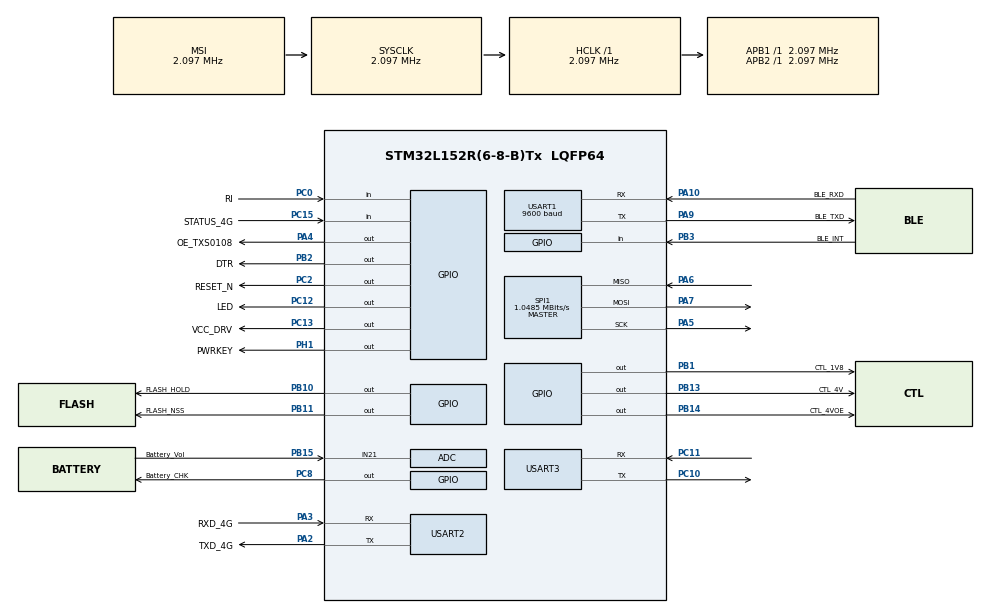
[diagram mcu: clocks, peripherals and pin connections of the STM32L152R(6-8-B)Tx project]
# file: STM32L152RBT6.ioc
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ADC.Channel-1\#ChannelRegularConversion=ADC_CHANNEL_21
ADC.NbrOfConversionFlag=1
ADC.Rank-1\#ChannelRegularConversion=1
ADC.SamplingTime-1\#ChannelRegularConversion=ADC_SAMPLETIME_4CYCLES
Mcu.Family=STM32L1
Mcu.Name=STM32L152R(6-8-B)Tx
Mcu.Package=LQFP64
NVIC.ADC1_IRQn=true\:0\:0\:false\:false\:true\:true\:true\:true
NVIC.PriorityGroup=NVIC_PRIORITYGROUP_4
NVIC.SPI1_IRQn=true\:0\:0\:false\:false\:true\:true\:true\:true
NVIC.USART1_IRQn=true\:0\:0\:false\:false\:true\:true\:true\:true
NVIC.USART2_IRQn=true\:0\:0\:false\:false\:true\:true\:true\:true
NVIC.USART3_IRQn=true\:0\:0\:false\:false\:true\:true\:true\:true
PA10.GPIO_Label=BLE_RXD
PA10.Mode=Asynchronous
PA10.Signal=USART1_RX
PA13.Mode=Serial_Wire
PA13.Signal=SYS_JTMS-SWDIO
PA14.Mode=Serial_Wire
PA14.Signal=SYS_JTCK-SWCLK
PA2.GPIO_Label=TXD_4G
PA2.Mode=Asynchronous
PA2.Signal=USART2_TX
PA3.GPIO_Label=RXD_4G
PA3.Mode=Asynchronous
PA3.Signal=USART2_RX
PA4.GPIO_Label=OE_TXS0108
PA4.Signal=GPIO_Output
PA5.Mode=Full_Duplex_Master
PA5.Signal=SPI1_SCK
PA6.Mode=Full_Duplex_Master
PA6.Signal=SPI1_MISO
PA7.Mode=Full_Duplex_Master
PA7.Signal=SPI1_MOSI
PA9.GPIO_Label=BLE_TXD
PA9.Mode=Asynchronous
PA9.Signal=USART1_TX
PB1.GPIO_Label=CTL_1V8
PB1.Signal=GPIO_Output
PB10.GPIO_Label=FLASH_HOLD
PB10.GPIO_PuPd=GPIO_PULLUP
PB10.PinState=GPIO_PIN_SET
PB10.Signal=GPIO_Output
PB11.GPIO_Label=FLASH_NSS
PB11.GPIO_PuPd=GPIO_PULLUP
PB11.PinState=GPIO_PIN_SET
PB11.Signal=GPIO_Output
PB13.GPIO_Label=CTL_4V
PB13.Signal=GPIO_Output
PB14.GPIO_Label=CTL_4VOE
PB14.Signal=GPIO_Output
PB15.GPIO_Label=Battery_Vol
PB15.Mode=IN21
PB15.Signal=ADC_IN21
PB2.GPIO_Label=DTR
PB2.GPIO_PuPd=GPIO_PULLDOWN
PB2.Signal=GPIO_Output
PB3.GPIO_Label=BLE_INT
PB3.GPIO_PuPd=GPIO_PULLUP
PB3.Signal=GPIO_Input
PC0.GPIO_Label=RI
PC0.GPIO_PuPd=GPIO_PULLUP
PC0.Signal=GPIO_Input
PC10.Mode=Asynchronous
PC10.Signal=USART3_TX
PC11.Mode=Asynchronous
PC11.Signal=USART3_RX
PC12.GPIO_Label=LED
PC12.Signal=GPIO_Output
PC13-WKUP2.GPIO_Label=VCC_DRV
PC13-WKUP2.Signal=GPIO_Output
PC15-OSC32_OUT.GPIO_Label=STATUS_4G
PC15-OSC32_OUT.GPIO_PuPd=GPIO_PULLUP
PC15-OSC32_OUT.Signal=GPIO_Input
PC2.GPIO_Label=RESET_N
PC2.Signal=GPIO_Output
PC8.GPIO_Label=Battery_CHK
PC8.Signal=GPIO_Output
PH1-OSC_OUT.GPIO_Label=PWRKEY
PH1-OSC_OUT.Signal=GPIO_Output
ProjectManager.HeapSize=0x200
ProjectManager.StackSize=0x400
ProjectManager.TargetToolchain=EWARM V8.32
RCC.AHBFreq_Value=2097000
RCC.APB1Freq_Value=2097000
RCC.APB2Freq_Value=2097000
RCC.HSE_VALUE=24000000
RCC.HSI_VALUE=16000000
RCC.LSE_VALUE=32768
RCC.MSI_VALUE=2097000
RCC.SYSCLKFreq_VALUE=2097000
RCC.VCOOutputFreq_Value=48000000
SPI1.CalculateBaudRate=1.0485 MBits/s
SPI1.Direction=SPI_DIRECTION_2LINES
SPI1.Mode=SPI_MODE_MASTER
SPI1.VirtualType=VM_MASTER
USART1.BaudRate=9600
USART1.VirtualMode=VM_ASYNC
USART2.VirtualMode=VM_ASYNC
USART3.VirtualMode=VM_ASYNC
board=custom

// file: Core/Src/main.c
/* USER CODE BEGIN Header */
/**
  ******************************************************************************
  * @file           : main.c
  * @brief          : Main program body
  ******************************************************************************
  * @attention
  *
  * Copyright (c) 2026 STMicroelectronics.
  * All rights reserved.
  *
  * This software is licensed under terms that can be found in the LICENSE file
  * in the root directory of this software component.
  * If no LICENSE file comes with this software, it is provided AS-IS.
  *
  ******************************************************************************
  */
/* USER CODE END Header */
#include "main.h"
#include "adc.h"
#include "spi.h"
#include "usart.h"
#include "gpio.h"

/* USER CODE BEGIN Includes */
#include <stdbool.h>
#include "L431_in.h"
#include "4g_echo.h"
#include "flash_io.h"
/* USER CODE END Includes */

/* USER CODE BEGIN PTD */
extern bool idle2_flag;

/* USER CODE END PTD */

/* USER CODE BEGIN PD */
static void led_init();
/* USER CODE END PD */

void SystemClock_Config(void);

int main(void)
{

  /* MCU Configuration--------------------------------------------------------*/

  /* Reset of all peripherals, Initializes the Flash interface and the Systick. */
  HAL_Init();

  /* Configure the system clock */
  SystemClock_Config();

  /* Initialize all configured peripherals */
  MX_GPIO_Init();
  MX_ADC_Init();
  MX_SPI1_Init();
  MX_USART1_UART_Init();
  MX_USART2_UART_Init();
  MX_USART3_UART_Init();
  /* USER CODE BEGIN 2 */
  led_init();

  Start_Init();
  sFLASH_Init();
  nvic2_init();
  mqtt_net_init(STATE_SEND_AT);
  //nvic3_init();

  HAL_GPIO_WritePin(GPIOC, GPIO_PIN_12, GPIO_PIN_SET);

  /* USER CODE END 2 */

  /* Infinite loop */
  while (1)
  {

        //turn_message_to3();
    if (!__HAL_UART_GET_IT_SOURCE(&huart2, UART_IT_RXNE)) {
        __HAL_UART_ENABLE_IT(&huart2, UART_IT_RXNE);
    }
    if (!__HAL_UART_GET_IT_SOURCE(&huart2, UART_IT_IDLE)) {
        __HAL_UART_ENABLE_IT(&huart2, UART_IT_IDLE);
    }
        mqtt_process_subscribe_msg();
        mqtt_ota_timeout_check();

        //process_data();

  }
}

void SystemClock_Config(void)
{
  RCC_OscInitTypeDef RCC_OscInitStruct = {0};
  RCC_ClkInitTypeDef RCC_ClkInitStruct = {0};

  /** Configure the main internal regulator output voltage
  */
  __HAL_PWR_VOLTAGESCALING_CONFIG(PWR_REGULATOR_VOLTAGE_SCALE1);

  /** Initializes the RCC Oscillators according to the specified parameters
  * in the RCC_OscInitTypeDef structure.
  */
  RCC_OscInitStruct.OscillatorType = RCC_OSCILLATORTYPE_HSI|RCC_OSCILLATORTYPE_MSI;
  RCC_OscInitStruct.HSIState = RCC_HSI_ON;
  RCC_OscInitStruct.HSICalibrationValue = RCC_HSICALIBRATION_DEFAULT;
  RCC_OscInitStruct.MSIState = RCC_MSI_ON;
  RCC_OscInitStruct.MSICalibrationValue = 0;
  RCC_OscInitStruct.MSIClockRange = RCC_MSIRANGE_5;
  RCC_OscInitStruct.PLL.PLLState = RCC_PLL_NONE;
  if (HAL_RCC_OscConfig(&RCC_OscInitStruct) != HAL_OK)
  {
    Error_Handler();
  }

  /** Initializes the CPU, AHB and APB buses clocks
  */
  RCC_ClkInitStruct.ClockType = RCC_CLOCKTYPE_HCLK|RCC_CLOCKTYPE_SYSCLK
                              |RCC_CLOCKTYPE_PCLK1|RCC_CLOCKTYPE_PCLK2;
  RCC_ClkInitStruct.SYSCLKSource = RCC_SYSCLKSOURCE_MSI;
  RCC_ClkInitStruct.AHBCLKDivider = RCC_SYSCLK_DIV1;
  RCC_ClkInitStruct.APB1CLKDivider = RCC_HCLK_DIV1;
  RCC_ClkInitStruct.APB2CLKDivider = RCC_HCLK_DIV1;

  if (HAL_RCC_ClockConfig(&RCC_ClkInitStruct, FLASH_LATENCY_0) != HAL_OK)
  {
    Error_Handler();
  }
}

/* USER CODE BEGIN 4 */
void led_init(){
    HAL_Delay(250);
    HAL_GPIO_WritePin(GPIOC, GPIO_PIN_12, GPIO_PIN_SET);
    HAL_Delay(250);
    HAL_GPIO_WritePin(GPIOC, GPIO_PIN_12, GPIO_PIN_RESET);
    HAL_Delay(250);
    HAL_GPIO_WritePin(GPIOC, GPIO_PIN_12, GPIO_PIN_SET);
    HAL_Delay(250);
    HAL_GPIO_WritePin(GPIOC, GPIO_PIN_12, GPIO_PIN_RESET);
    HAL_Delay(250);
    HAL_GPIO_WritePin(GPIOC, GPIO_PIN_12, GPIO_PIN_SET);
    HAL_Delay(250);
    HAL_GPIO_WritePin(GPIOC, GPIO_PIN_12, GPIO_PIN_RESET);
    HAL_Delay(250);
    HAL_GPIO_WritePin(GPIOC, GPIO_PIN_12, GPIO_PIN_SET);
    HAL_Delay(250);
    HAL_GPIO_WritePin(GPIOC, GPIO_PIN_12, GPIO_PIN_RESET);
    HAL_Delay(250);
    HAL_GPIO_WritePin(GPIOC, GPIO_PIN_12, GPIO_PIN_SET);
    HAL_Delay(250);
    HAL_GPIO_WritePin(GPIOC, GPIO_PIN_12, GPIO_PIN_RESET);

}

/* USER CODE END 4 */

void Error_Handler(void)
{
  __disable_irq();
  while (1)
  {
  }
}
